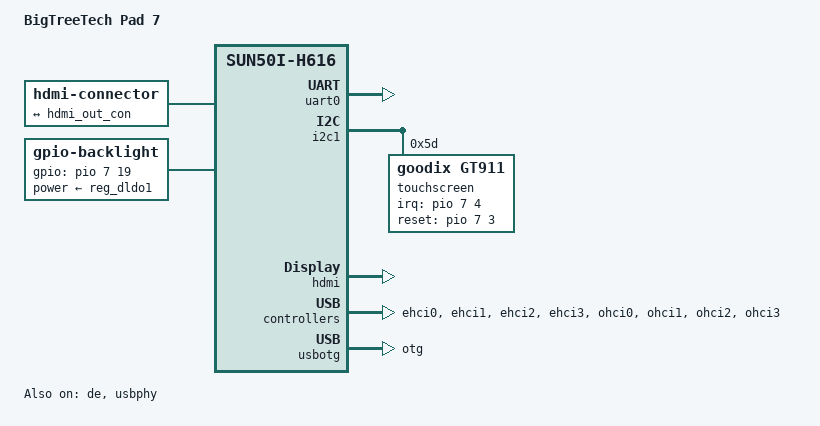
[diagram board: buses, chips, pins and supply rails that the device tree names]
// SPDX-License-Identifier: (GPL-2.0+ OR MIT)
/* Pad 7 carrier-specific devices layered over the upstream CB1 module DTSI. */

/dts-v1/;

#include <dt-bindings/gpio/gpio.h>
#include <dt-bindings/interrupt-controller/irq.h>
#include "sun50i-h616-bigtreetech-cb1.dtsi"

/ {
	model = "BigTreeTech Pad 7";
	compatible = "bigtreetech,pad7", "bigtreetech,cb1", "allwinner,sun50i-h616";

	aliases {
		serial0 = &uart0;
	};

	chosen {
		stdout-path = "serial0:115200n8";
	};

	connector {
		compatible = "hdmi-connector";
		type = "d";

		port {
			hdmi_con_in: endpoint {
				remote-endpoint = <&hdmi_out_con>;
			};
		};
	};

	/* Pad 7 LCD backlight enable. */
	backlight: backlight {
		compatible = "gpio-backlight";
		gpios = <&pio 7 19 GPIO_ACTIVE_HIGH>; /* PH19 */
		default-on;
		brightness-levels = <0 10 20 30 40 50 60 70 80 90 100>;
		default-brightness-level = <8>;
		power-supply = <&reg_dldo1>;
	};
};

/* UART0 for serial console */
&uart0 {
	pinctrl-names = "default";
	pinctrl-0 = <&uart0_ph_pins>;
	status = "okay";
};

/* I2C1 for touchscreen */
&i2c1 {
	status = "okay";

	touchscreen@5d {
		compatible = "goodix,gt911";
		reg = <0x5d>;
		interrupt-parent = <&pio>;
		interrupts = <7 4 IRQ_TYPE_EDGE_FALLING>;  /* PH4 */
		irq-gpios = <&pio 7 4 GPIO_ACTIVE_HIGH>;
		reset-gpios = <&pio 7 3 GPIO_ACTIVE_HIGH>; /* PH3 */
		touchscreen-size-x = <1024>;
		touchscreen-size-y = <600>;
	};
};

&de {
	status = "okay";
};

&hdmi {
	hvcc-supply = <&reg_aldo1>;
	allwinner,force-connected;
	status = "okay";
};

&hdmi_out {
	hdmi_out_con: endpoint {
		remote-endpoint = <&hdmi_con_in>;
	};
};

/* Enable USB ports */
&ehci0 {
	status = "okay";
};

&ehci1 {
	status = "okay";
};

&ehci2 {
	status = "okay";
};

&ehci3 {
	status = "okay";
};

&ohci0 {
	status = "okay";
};

&ohci1 {
	status = "okay";
};

&ohci2 {
	status = "okay";
};

&ohci3 {
	status = "okay";
};

&usbotg {
	dr_mode = "otg";
	status = "okay";
};

&usbphy {
	status = "okay";
};
